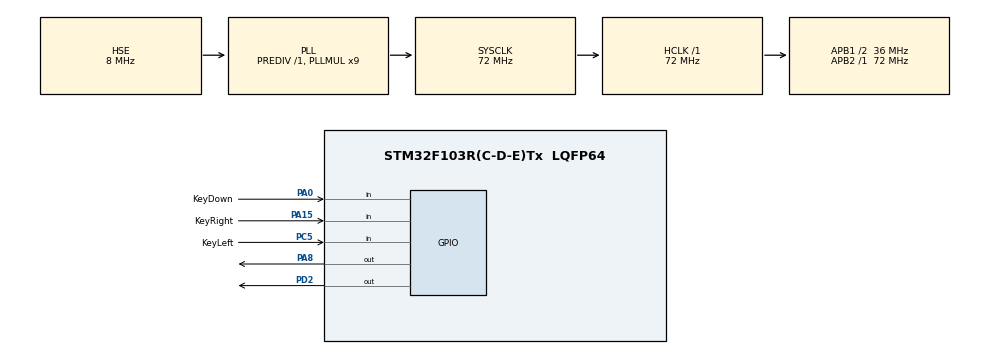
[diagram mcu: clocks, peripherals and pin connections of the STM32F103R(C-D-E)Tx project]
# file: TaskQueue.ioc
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FREERTOS.Queues01=Queue_Keys,10,uint8_t,0,Dynamic,NULL,NULL
FREERTOS.Tasks01=Task_ScanKeys,24,128,StartDefaultTask,Default,NULL,Dynamic,NULL,NULL;Task_Draw,16,128,StartTask02,Default,NULL,Dynamic,NULL,NULL
Mcu.Family=STM32F1
Mcu.Name=STM32F103R(C-D-E)Tx
Mcu.Package=LQFP64
NVIC.PriorityGroup=NVIC_PRIORITYGROUP_4
NVIC.TIM6_IRQn=true\:15\:0\:false\:false\:true\:false\:false\:true\:true
NVIC.TimeBase=TIM6_IRQn
NVIC.TimeBaseIP=TIM6
PA0-WKUP.GPIO_Label=KeyDown
PA0-WKUP.GPIO_PuPd=GPIO_PULLDOWN
PA0-WKUP.Signal=GPIO_Input
PA13.Mode=Serial_Wire
PA13.Signal=SYS_JTMS-SWDIO
PA14.Mode=Serial_Wire
PA14.Signal=SYS_JTCK-SWCLK
PA15.GPIO_Label=KeyRight
PA15.GPIO_PuPd=GPIO_PULLUP
PA15.Signal=GPIO_Input
PA8.Signal=GPIO_Output
PC14-OSC32_IN.Mode=LSE-External-Oscillator
PC14-OSC32_IN.Signal=RCC_OSC32_IN
PC15-OSC32_OUT.Mode=LSE-External-Oscillator
PC15-OSC32_OUT.Signal=RCC_OSC32_OUT
PC5.GPIO_Label=KeyLeft
PC5.GPIO_PuPd=GPIO_PULLUP
PC5.Signal=GPIO_Input
PD0-OSC_IN.Mode=HSE-External-Oscillator
PD0-OSC_IN.Signal=RCC_OSC_IN
PD1-OSC_OUT.Mode=HSE-External-Oscillator
PD1-OSC_OUT.Signal=RCC_OSC_OUT
PD2.Signal=GPIO_Output
ProjectManager.HeapSize=0x200
ProjectManager.StackSize=0x400
ProjectManager.TargetToolchain=SW4STM32
RCC.AHBFreq_Value=72000000
RCC.APB1CLKDivider=RCC_HCLK_DIV2
RCC.APB1Freq_Value=36000000
RCC.APB1TimFreq_Value=72000000
RCC.APB2Freq_Value=72000000
RCC.APB2TimFreq_Value=72000000
RCC.HCLKFreq_Value=72000000
RCC.PLLMUL=RCC_PLL_MUL9
RCC.PLLSourceVirtual=RCC_PLLSOURCE_HSE
RCC.SYSCLKFreq_VALUE=72000000
RCC.SYSCLKSource=RCC_SYSCLKSOURCE_PLLCLK
RCC.USBFreq_Value=72000000
VP_FREERTOS_VS_CMSIS_V2.Mode=CMSIS_V2
VP_SYS_VS_tim6.Mode=TIM6
board=custom

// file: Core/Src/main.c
/* USER CODE BEGIN Header */
/**
  ******************************************************************************
  * @file           : main.c
  * @brief          : Main program body
  ******************************************************************************
  * @attention
  *
  * Copyright (c) 2022 STMicroelectronics.
  * All rights reserved.
  *
  * This software is licensed under terms that can be found in the LICENSE file
  * in the root directory of this software component.
  * If no LICENSE file comes with this software, it is provided AS-IS.
  *
  ******************************************************************************
  */
/* USER CODE END Header */
#include "main.h"
#include "cmsis_os.h"
#include "gpio.h"

/* USER CODE BEGIN Includes */
#include "lcd.h"
/* USER CODE END Includes */

void SystemClock_Config(void);
void MX_FREERTOS_Init(void);

int main(void)
{

  /* MCU Configuration--------------------------------------------------------*/

  /* Reset of all peripherals, Initializes the Flash interface and the Systick. */
  HAL_Init();

  /* USER CODE BEGIN Init */
  LCD_Init();

  /* USER CODE END Init */

  /* Configure the system clock */
  SystemClock_Config();

  /* Initialize all configured peripherals */
  MX_GPIO_Init();
  /* USER CODE BEGIN 2 */
  LCD_ShowString(20,20,200,24,16,(uint8_t *)"Demo4_1:Using a Queue");

  /* USER CODE END 2 */

  /* Init scheduler */
  osKernelInitialize();  /* Call init function for freertos objects (in freertos.c) */
  MX_FREERTOS_Init();

  /* Start scheduler */
  osKernelStart();

  /* We should never get here as control is now taken by the scheduler */
  /* Infinite loop */
  while (1)
  {

  }
}

void SystemClock_Config(void)
{
  RCC_OscInitTypeDef RCC_OscInitStruct = {0};
  RCC_ClkInitTypeDef RCC_ClkInitStruct = {0};

  /** Initializes the RCC Oscillators according to the specified parameters
  * in the RCC_OscInitTypeDef structure.
  */
  RCC_OscInitStruct.OscillatorType = RCC_OSCILLATORTYPE_HSE;
  RCC_OscInitStruct.HSEState = RCC_HSE_ON;
  RCC_OscInitStruct.HSEPredivValue = RCC_HSE_PREDIV_DIV1;
  RCC_OscInitStruct.HSIState = RCC_HSI_ON;
  RCC_OscInitStruct.PLL.PLLState = RCC_PLL_ON;
  RCC_OscInitStruct.PLL.PLLSource = RCC_PLLSOURCE_HSE;
  RCC_OscInitStruct.PLL.PLLMUL = RCC_PLL_MUL9;
  if (HAL_RCC_OscConfig(&RCC_OscInitStruct) != HAL_OK)
  {
    Error_Handler();
  }

  /** Initializes the CPU, AHB and APB buses clocks
  */
  RCC_ClkInitStruct.ClockType = RCC_CLOCKTYPE_HCLK|RCC_CLOCKTYPE_SYSCLK
                              |RCC_CLOCKTYPE_PCLK1|RCC_CLOCKTYPE_PCLK2;
  RCC_ClkInitStruct.SYSCLKSource = RCC_SYSCLKSOURCE_PLLCLK;
  RCC_ClkInitStruct.AHBCLKDivider = RCC_SYSCLK_DIV1;
  RCC_ClkInitStruct.APB1CLKDivider = RCC_HCLK_DIV2;
  RCC_ClkInitStruct.APB2CLKDivider = RCC_HCLK_DIV1;

  if (HAL_RCC_ClockConfig(&RCC_ClkInitStruct, FLASH_LATENCY_2) != HAL_OK)
  {
    Error_Handler();
  }
}

void HAL_TIM_PeriodElapsedCallback(TIM_HandleTypeDef *htim)
{
  if (htim->Instance == TIM6) {
    HAL_IncTick();
  }
}

void Error_Handler(void)
{
  __disable_irq();
  while (1)
  {
  }
}

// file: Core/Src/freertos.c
/* USER CODE BEGIN Header */
/**
  ******************************************************************************
  * File Name          : freertos.c
  * Description        : Code for freertos applications
  ******************************************************************************
  * @attention
  *
  * Copyright (c) 2022 STMicroelectronics.
  * All rights reserved.
  *
  * This software is licensed under terms that can be found in the LICENSE file
  * in the root directory of this software component.
  * If no LICENSE file comes with this software, it is provided AS-IS.
  *
  ******************************************************************************
  */
/* USER CODE END Header */

#include "FreeRTOS.h"
#include "task.h"
#include "main.h"
#include "cmsis_os.h"

/* USER CODE BEGIN Includes */
#include "queue.h"
#include "lcd.h"
/* USER CODE END Includes */

/* USER CODE BEGIN Variables */
uint16_t	curScreenX=100;		//LCD当前X
uint16_t	curScreenY=260;		//LCD当前Y
uint16_t	lastScreenX=100;	// LCD前一步的X
uint16_t	lastScreenY=260;	// LCD前一步的Y

typedef enum{
    KEY_NONE=0,
    KEY_LEFT,
    KEY_RIGHT,
    KEY_DOWN
}KEYS;
/* USER CODE END Variables */
/* Definitions for Task_ScanKeys */
osThreadId_t Task_ScanKeysHandle;
const osThreadAttr_t Task_ScanKeys_attributes = {
  .name = "Task_ScanKeys",
  .stack_size = 128 * 4,
  .priority = (osPriority_t) osPriorityNormal,
};
/* Definitions for Task_Draw */
osThreadId_t Task_DrawHandle;
const osThreadAttr_t Task_Draw_attributes = {
  .name = "Task_Draw",
  .stack_size = 128 * 4,
  .priority = (osPriority_t) osPriorityBelowNormal,
};
/* Definitions for Queue_Keys */
osMessageQueueId_t Queue_KeysHandle;
const osMessageQueueAttr_t Queue_Keys_attributes = {
  .name = "Queue_Keys"
};

void StartDefaultTask(void *argument);
void StartTask02(void *argument);

void MX_FREERTOS_Init(void); /* (MISRA C 2004 rule 8.1) */

void MX_FREERTOS_Init(void) {

  /* Create the queue(s) */
  /* creation of Queue_Keys */
  Queue_KeysHandle = osMessageQueueNew (10, sizeof(uint8_t), &Queue_Keys_attributes);

  /* Create the thread(s) */
  /* creation of Task_ScanKeys */
  Task_ScanKeysHandle = osThreadNew(StartDefaultTask, NULL, &Task_ScanKeys_attributes);

  /* creation of Task_Draw */
  Task_DrawHandle = osThreadNew(StartTask02, NULL, &Task_Draw_attributes);

}

void StartDefaultTask(void *argument)
{
  /* USER CODE BEGIN StartDefaultTask */
  GPIO_PinState keyState=GPIO_PIN_SET;
  KEYS key=KEY_NONE;
  /* Infinite loop */
  for(;;)
  {
      key=KEY_NONE;
      // 1.检测KeyRight
      keyState=HAL_GPIO_ReadPin(KeyRight_GPIO_Port, KeyRight_Pin); //KeyRight
      if (keyState==GPIO_PIN_RESET)  //KeyRight 是低输入有效
          key=KEY_RIGHT;

      // 2.检测KeyDown
      keyState=HAL_GPIO_ReadPin(KeyDown_GPIO_Port, KeyDown_Pin); //KeyDown
      if (keyState==GPIO_PIN_SET)  //KeyDown 是高输入有效
          key=KEY_DOWN;

      // 3.检测KeyLeft
      keyState=HAL_GPIO_ReadPin(KeyLeft_GPIO_Port, KeyLeft_Pin); //KeyLeft
      if (keyState==GPIO_PIN_RESET)  //KeyLeft 是低输入有效
          key=KEY_LEFT;

/*      //4. 检测KeyUp
      keyState=HAL_GPIO_ReadPin(KeyUp_GPIO_Port, KeyUp_Pin); //KeyUp
      if (keyState==GPIO_PIN_SET)  //KeyUp 是高输入有效
          key=KEY_UP;*/

      // 5. 是否有键按下
      if (key != KEY_NONE)   //有键按下
          {
          BaseType_t err= xQueueSendToBack(Queue_KeysHandle, &key, pdMS_TO_TICKS(50));
          if (err == errQUEUE_FULL)  //如果队列满了，就复位队列
              xQueueReset(Queue_KeysHandle);
          vTaskDelay(pdMS_TO_TICKS(300)); //至少300才能去除抖动影响，同时让任务调度执行
          }
      else
          vTaskDelay(pdMS_TO_TICKS(5)); 	//死循环内延时，进入阻塞状态
  }
  /* USER CODE END StartDefaultTask */
}

void StartTask02(void *argument)
{
  /* USER CODE BEGIN StartTask02 */
  //读取队列信息
  char* qName=pcQueueGetName(Queue_KeysHandle);   //读取队列名称
  LCD_ShowString(10, 40, 200,24,16,(uint8_t *)"Queue Name =");
  LCD_ShowString(120, 40, 200,24,16,qName);

  UBaseType_t qSpaces=uxQueueSpacesAvailable(Queue_KeysHandle);
  LCD_ShowString(10, 70, 200,24,16,(uint8_t *)"Queue Size =");  //初始剩余空间，也就是队列的大小
  LCD_ShowNum(100, 70, qSpaces,2,16);

  LCD_ShowString(10, 110,200,24,16, (uint8_t *)"uxQueueMessagesWaiting()= ");
  LCD_ShowString(10, 150,200,24,16, (uint8_t *)"uxQueueSpacesAvailable()= ");

//uint16_t LcdX=10;		//记录显示位置

  UBaseType_t msgCount=0, freeSpace=0;
  KEYS  keyCode;
  /* Infinite loop */
  for(;;)
  {
      msgCount=uxQueueMessagesWaiting(Queue_KeysHandle);  //等待读取的消息个数
      LCD_ShowNum(200, 110, msgCount, 2,16);
      freeSpace=uxQueueSpacesAvailable(Queue_KeysHandle); //剩余空间个数
      LCD_ShowNum(200, 150, freeSpace, 2,16);
      //读取消息, 阻塞式等待
      BaseType_t  result=xQueueReceive(Queue_KeysHandle, &keyCode, pdMS_TO_TICKS(50));
      if (result != pdTRUE)
          continue;

      //读取到消息，根据按键代码移动画线
      if (keyCode==KEY_LEFT)
          curScreenX -= 10;
      else if (keyCode==KEY_RIGHT)
          curScreenX += 10;
      else if (keyCode==KEY_DOWN)
          curScreenY += 10;

      if  (curScreenX>lcddev.width)
          curScreenX=lcddev.width;
      if (curScreenY>lcddev.height)
          curScreenY=lcddev.height;

      LCD_DrawLine(lastScreenX, lastScreenY, curScreenX, curScreenY);
      lastScreenX =curScreenX;
      lastScreenY =curScreenY;

      vTaskDelay(pdMS_TO_TICKS(10)); //如果延时较长，可能导致队列里有多个项
  }
  /* USER CODE END StartTask02 */
}
